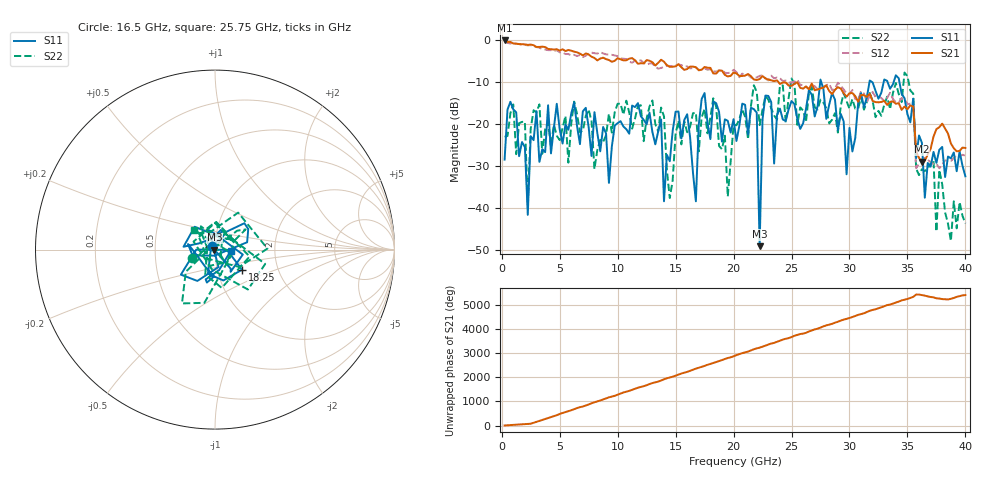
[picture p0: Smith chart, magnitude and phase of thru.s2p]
# GHz S RI R 50
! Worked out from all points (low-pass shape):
!   160 points, 250 MHz to 40 GHz, reference 50 ohm
!   highest |S21| = 0.01 dB at 250 MHz (marker M1); lowest = -29.0 dB at 36.25 GHz (marker M2)
!   |S21| within 3 dB of the highest: start of sweep to 6.632 GHz
!   lowest |S11| = -49.1 dB at 22.25 GHz (marker M3), VSWR 1.01, Z = 49.7 - j0.00552 ohm
!   |S11| at or under -10 dB: start of sweep to 27.47 GHz; 27.57 GHz to 31.72 GHz (4.148 GHz wide, 14 % of centre); 34.32 GHz to end of sweep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
!   |S22| runs from -47.9 to -7.7 dB; largest |S21 - S12| = 2
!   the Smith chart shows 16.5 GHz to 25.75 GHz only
!   S11 on the Smith chart (normalised r, x): 16.5 GHz: 0.96, +0.04; 18.25 GHz: 1.31, -0.31; 25.75 GHz: 1.19, -0.02
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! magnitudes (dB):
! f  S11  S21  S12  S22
! 250 MHz  -28.5  0.0  -0.2  -23.0
! 2 GHz  -25.5  -0.9  -1.0  -19.4
! 2.25 GHz  -41.6  -1.0  -1.2  -39.4
! 2.75 GHz  -23.8  -1.1  -1.4  -16.7
! 7 GHz  -16.9  -3.6  -4.0  -21.5
! 9.25 GHz  -34.0  -4.7  -3.4  -17.5
! 13.5 GHz  -21.7  -5.3  -6.7  -21.7
! 14.5 GHz  -28.8  -6.3  -6.1  -37.6
! 16.5 GHz  -31.6  -6.2  -6.6  -17.4
! 18.25 GHz  -14.5  -7.9  -7.4  -13.8
! 19.5 GHz  -19.2  -8.6  -7.8  -37.3
! 20.25 GHz  -24.0  -7.9  -7.6  -20.2
! 22 GHz  -17.2  -9.4  -8.8  -12.3
! 22.25 GHz  -49.1  -9.2  -8.4  -20.2
! 22.75 GHz  -13.2  -9.0  -9.1  -13.3
! 25.75 GHz  -21.1  -11.3  -10.6  -16.0
! 26.75 GHz  -12.9  -10.3  -10.7  -11.1
! 29.75 GHz  -32.0  -13.4  -12.6  -14.5
! 33.5 GHz  -11.5  -14.7  -12.5  -16.4
! 35 GHz  -17.6  -16.4  -15.2  -8.5
! 36.25 GHz  -24.4  -29.0  -28.3  -30.7
! 40 GHz  -32.5  -25.7  -27.5  -43.7
